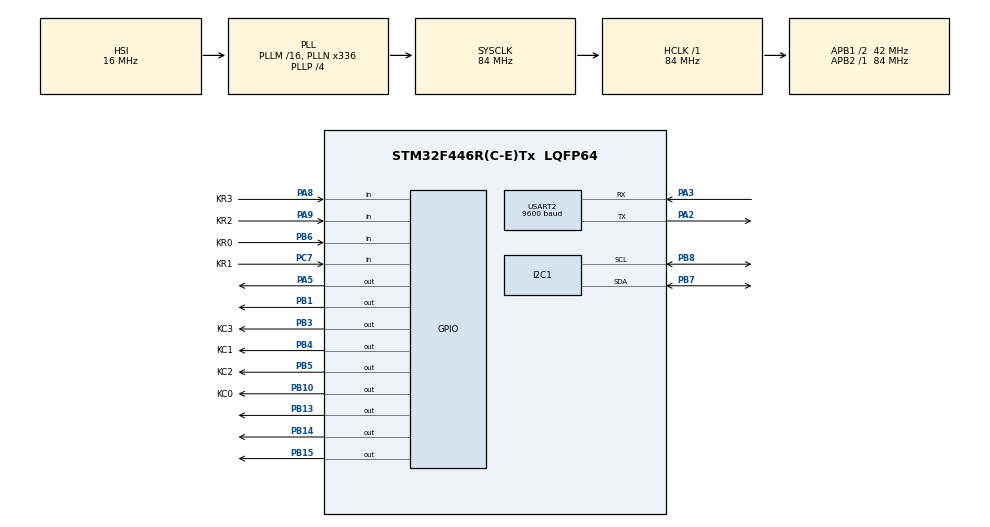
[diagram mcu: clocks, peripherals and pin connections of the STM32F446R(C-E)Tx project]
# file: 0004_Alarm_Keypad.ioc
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FREERTOS.Tasks01=defaultTask,0,128,StartDefaultTask,Default,NULL,Dynamic,NULL,NULL;NumberpadTask,0,128,Numberpad,Default,NULL,Dynamic,NULL,NULL;LCDTask,0,128,LCDDisplay,Default,NULL,Dynamic,NULL,NULL;LEDTask,0,128,RedGreenLED,Default,NULL,Dynamic,NULL,NULL;Buzzer,0,128,StartBuzzer,Default,NULL,Dynamic,NULL,NULL;MotionDetector,0,128,StartMotionDetector,Default,NULL,Dynamic,NULL,NULL
I2C1.I2C_Mode=I2C_Fast
Mcu.Family=STM32F4
Mcu.Name=STM32F446R(C-E)Tx
Mcu.Package=LQFP64
NVIC.PriorityGroup=NVIC_PRIORITYGROUP_4
NVIC.TIM6_DAC_IRQn=true\:0\:0\:false\:false\:true\:false\:false\:true\:true
NVIC.TimeBase=TIM6_DAC_IRQn
NVIC.TimeBaseIP=TIM6
PA13.Mode=Serial_Wire
PA13.Signal=SYS_JTMS-SWDIO
PA14.Mode=Serial_Wire
PA14.Signal=SYS_JTCK-SWCLK
PA2.Mode=Asynchronous
PA2.Signal=USART2_TX
PA3.Mode=Asynchronous
PA3.Signal=USART2_RX
PA5.Signal=GPIO_Output
PA8.GPIO_Label=KR3
PA8.GPIO_PuPd=GPIO_PULLDOWN
PA8.Signal=GPIO_Input
PA9.GPIO_Label=KR2
PA9.GPIO_PuPd=GPIO_PULLDOWN
PA9.Signal=GPIO_Input
PB1.Signal=GPIO_Output
PB10.GPIO_Label=KC0
PB10.Signal=GPIO_Output
PB13.Signal=GPIO_Output
PB14.Signal=GPIO_Output
PB15.Signal=GPIO_Output
PB3.GPIO_Label=KC3
PB3.Signal=GPIO_Output
PB4.GPIO_Label=KC1
PB4.Signal=GPIO_Output
PB5.GPIO_Label=KC2
PB5.Signal=GPIO_Output
PB6.GPIO_Label=KR0
PB6.GPIO_PuPd=GPIO_PULLDOWN
PB6.Signal=GPIO_Input
PB7.Mode=I2C
PB7.Signal=I2C1_SDA
PB8.Mode=I2C
PB8.Signal=I2C1_SCL
PC14-OSC32_IN.Mode=LSE-External-Oscillator
PC14-OSC32_IN.Signal=RCC_OSC32_IN
PC15-OSC32_OUT.Mode=LSE-External-Oscillator
PC15-OSC32_OUT.Signal=RCC_OSC32_OUT
PC7.GPIO_Label=KR1
PC7.GPIO_PuPd=GPIO_PULLDOWN
PC7.Signal=GPIO_Input
PH0-OSC_IN.Mode=HSE-External-Oscillator
PH0-OSC_IN.Signal=RCC_OSC_IN
PH1-OSC_OUT.Mode=HSE-External-Oscillator
PH1-OSC_OUT.Signal=RCC_OSC_OUT
ProjectManager.HeapSize=0x200
ProjectManager.StackSize=0x400
ProjectManager.TargetToolchain=STM32CubeIDE
RCC.48MHZClocksFreq_Value=84000000
RCC.AHBFreq_Value=84000000
RCC.APB1CLKDivider=RCC_HCLK_DIV2
RCC.APB1Freq_Value=42000000
RCC.APB1TimFreq_Value=84000000
RCC.APB2Freq_Value=84000000
RCC.APB2TimFreq_Value=84000000
RCC.CortexFreq_Value=84000000
RCC.FLatency-AdvancedSettings=FLASH_LATENCY_2
RCC.HCLKFreq_Value=84000000
RCC.HSE_VALUE=8000000
RCC.HSI_VALUE=16000000
RCC.PLLN=336
RCC.PLLP=RCC_PLLP_DIV4
RCC.SYSCLKFreq_VALUE=84000000
RCC.SYSCLKSource=RCC_SYSCLKSOURCE_PLLCLK
RCC.USBFreq_Value=168000000
RCC.VCOOutputFreq_Value=336000000
USART2.BaudRate=9600
USART2.VirtualMode=VM_ASYNC
VP_FREERTOS_VS_CMSIS_V1.Mode=CMSIS_V1
VP_SYS_VS_tim6.Mode=TIM6
board=NUCLEO-F446RE

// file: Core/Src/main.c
/* USER CODE BEGIN Header */
/**
  ******************************************************************************
  * @file           : main.c
  * @brief          : Main program body
  ******************************************************************************
  * @attention
  *
  * Copyright (c) 2024 STMicroelectronics.
  * All rights reserved.
  *
  * This software is licensed under terms that can be found in the LICENSE file
  * in the root directory of this software component.
  * If no LICENSE file comes with this software, it is provided AS-IS.
  *
  ******************************************************************************
  */
/* USER CODE END Header */
#include "main.h"
#include "cmsis_os.h"

/* USER CODE BEGIN Includes */
#include "Keypad4X4.h"
#include <stdio.h>
#include <string.h>
#include <stdlib.h>
#include "fonts.h"
#include "ssd1306.h"

/* USER CODE END Includes */

I2C_HandleTypeDef hi2c1;

UART_HandleTypeDef huart2;

osThreadId defaultTaskHandle;
osThreadId NumberpadTaskHandle;
osThreadId LCDTaskHandle;
osThreadId LEDTaskHandle;
osThreadId BuzzerHandle;
osThreadId MotionDetectorHandle;
/* USER CODE BEGIN PV */
extern char key;
char hold[4];
char password[6];
char storedPassword[6];
bool isArmed = false;
int idx = 0;
char msg[12] = "1";
int counter = 0;
char space[] = " ";
bool stateDisplayed = false;
uint8_t pirState;
#define PIR_PORT GPIOA
/* USER CODE END PV */

void SystemClock_Config(void);
static void MX_GPIO_Init(void);
static void MX_USART2_UART_Init(void);
static void MX_I2C1_Init(void);
void StartDefaultTask(void const * argument);
void Numberpad(void const * argument);
void LCDDisplay(void const * argument);
void RedGreenLED(void const * argument);
void StartBuzzer(void const * argument);
void StartMotionDetector(void const * argument);

int main(void)
{

  /* MCU Configuration--------------------------------------------------------*/

  /* Reset of all peripherals, Initializes the Flash interface and the Systick. */
  HAL_Init();

  /* Configure the system clock */
  SystemClock_Config();

  /* Initialize all configured peripherals */
  MX_GPIO_Init();
  MX_USART2_UART_Init();
  MX_I2C1_Init();
  /* USER CODE BEGIN 2 */
  /* USER CODE BEGIN 2 */
    SSD1306_Init();
    SSD1306_GotoXY (0,0);
    //SSD1306_Puts ("Voltage:", &Font_11x18, 1);
    SSD1306_Puts ("NOT ARMED", &Font_11x18, 1);
    SSD1306_UpdateScreen();
    HAL_Delay (5000);
    SSD1306_Fill(SSD1306_COLOR_BLACK);
    SSD1306_GotoXY (0,0);
    SSD1306_Puts ("Enter Code:", &Font_11x18, 1);
    SSD1306_GotoXY (0, 30);
    SSD1306_UpdateScreen();
    SSD1306_UpdateScreen();
    HAL_Delay (500);

  /* USER CODE END 2 */

  /* Create the thread(s) */
  /* definition and creation of defaultTask */
  osThreadDef(defaultTask, StartDefaultTask, osPriorityNormal, 0, 128);
  defaultTaskHandle = osThreadCreate(osThread(defaultTask), NULL);

  /* definition and creation of NumberpadTask */
  osThreadDef(NumberpadTask, Numberpad, osPriorityNormal, 0, 128);
  NumberpadTaskHandle = osThreadCreate(osThread(NumberpadTask), NULL);

  /* definition and creation of LCDTask */
  osThreadDef(LCDTask, LCDDisplay, osPriorityNormal, 0, 128);
  LCDTaskHandle = osThreadCreate(osThread(LCDTask), NULL);

  /* definition and creation of LEDTask */
  osThreadDef(LEDTask, RedGreenLED, osPriorityNormal, 0, 128);
  LEDTaskHandle = osThreadCreate(osThread(LEDTask), NULL);

  /* definition and creation of Buzzer */
  osThreadDef(Buzzer, StartBuzzer, osPriorityNormal, 0, 128);
  BuzzerHandle = osThreadCreate(osThread(Buzzer), NULL);

  /* definition and creation of MotionDetector */
  osThreadDef(MotionDetector, StartMotionDetector, osPriorityNormal, 0, 128);
  MotionDetectorHandle = osThreadCreate(osThread(MotionDetector), NULL);

  /* Start scheduler */
  osKernelStart();

  /* We should never get here as control is now taken by the scheduler */
  /* Infinite loop */
  while (1)
  {

    /* USER CODE BEGIN 3 */
	/* D10 to D7 as input pins for row 0 to row 3. D6 to D3 as output for column pins C1 to C3*/

  }
  /* USER CODE END 3 */
}

void SystemClock_Config(void)
{
  RCC_OscInitTypeDef RCC_OscInitStruct = {0};
  RCC_ClkInitTypeDef RCC_ClkInitStruct = {0};

  /** Configure the main internal regulator output voltage
  */
  __HAL_RCC_PWR_CLK_ENABLE();
  __HAL_PWR_VOLTAGESCALING_CONFIG(PWR_REGULATOR_VOLTAGE_SCALE3);

  /** Initializes the RCC Oscillators according to the specified parameters
  * in the RCC_OscInitTypeDef structure.
  */
  RCC_OscInitStruct.OscillatorType = RCC_OSCILLATORTYPE_HSI;
  RCC_OscInitStruct.HSIState = RCC_HSI_ON;
  RCC_OscInitStruct.HSICalibrationValue = RCC_HSICALIBRATION_DEFAULT;
  RCC_OscInitStruct.PLL.PLLState = RCC_PLL_ON;
  RCC_OscInitStruct.PLL.PLLSource = RCC_PLLSOURCE_HSI;
  RCC_OscInitStruct.PLL.PLLM = 16;
  RCC_OscInitStruct.PLL.PLLN = 336;
  RCC_OscInitStruct.PLL.PLLP = RCC_PLLP_DIV4;
  RCC_OscInitStruct.PLL.PLLQ = 2;
  RCC_OscInitStruct.PLL.PLLR = 2;
  if (HAL_RCC_OscConfig(&RCC_OscInitStruct) != HAL_OK)
  {
    Error_Handler();
  }

  /** Initializes the CPU, AHB and APB buses clocks
  */
  RCC_ClkInitStruct.ClockType = RCC_CLOCKTYPE_HCLK|RCC_CLOCKTYPE_SYSCLK
                              |RCC_CLOCKTYPE_PCLK1|RCC_CLOCKTYPE_PCLK2;
  RCC_ClkInitStruct.SYSCLKSource = RCC_SYSCLKSOURCE_PLLCLK;
  RCC_ClkInitStruct.AHBCLKDivider = RCC_SYSCLK_DIV1;
  RCC_ClkInitStruct.APB1CLKDivider = RCC_HCLK_DIV2;
  RCC_ClkInitStruct.APB2CLKDivider = RCC_HCLK_DIV1;

  if (HAL_RCC_ClockConfig(&RCC_ClkInitStruct, FLASH_LATENCY_2) != HAL_OK)
  {
    Error_Handler();
  }
}

static void MX_I2C1_Init(void)
{

  hi2c1.Instance = I2C1;
  hi2c1.Init.ClockSpeed = 400000;
  hi2c1.Init.DutyCycle = I2C_DUTYCYCLE_2;
  hi2c1.Init.OwnAddress1 = 0;
  hi2c1.Init.AddressingMode = I2C_ADDRESSINGMODE_7BIT;
  hi2c1.Init.DualAddressMode = I2C_DUALADDRESS_DISABLE;
  hi2c1.Init.OwnAddress2 = 0;
  hi2c1.Init.GeneralCallMode = I2C_GENERALCALL_DISABLE;
  hi2c1.Init.NoStretchMode = I2C_NOSTRETCH_DISABLE;
  if (HAL_I2C_Init(&hi2c1) != HAL_OK)
  {
    Error_Handler();
  }

}

static void MX_USART2_UART_Init(void)
{

  huart2.Instance = USART2;
  huart2.Init.BaudRate = 9600;
  huart2.Init.WordLength = UART_WORDLENGTH_8B;
  huart2.Init.StopBits = UART_STOPBITS_1;
  huart2.Init.Parity = UART_PARITY_NONE;
  huart2.Init.Mode = UART_MODE_TX_RX;
  huart2.Init.HwFlowCtl = UART_HWCONTROL_NONE;
  huart2.Init.OverSampling = UART_OVERSAMPLING_16;
  if (HAL_UART_Init(&huart2) != HAL_OK)
  {
    Error_Handler();
  }

}

static void MX_GPIO_Init(void)
{
  GPIO_InitTypeDef GPIO_InitStruct = {0};

  /* GPIO Ports Clock Enable */
  __HAL_RCC_GPIOC_CLK_ENABLE();
  __HAL_RCC_GPIOH_CLK_ENABLE();
  __HAL_RCC_GPIOA_CLK_ENABLE();
  __HAL_RCC_GPIOB_CLK_ENABLE();

  /*Configure GPIO pin Output Level */
  HAL_GPIO_WritePin(GPIOA, GPIO_PIN_5, GPIO_PIN_RESET);

  /*Configure GPIO pin Output Level */
  HAL_GPIO_WritePin(GPIOB, GPIO_PIN_1|KC0_Pin|GPIO_PIN_13|GPIO_PIN_14
                          |GPIO_PIN_15|KC3_Pin|KC1_Pin|KC2_Pin, GPIO_PIN_RESET);

  /*Configure GPIO pin : PA5 */
  GPIO_InitStruct.Pin = GPIO_PIN_5;
  GPIO_InitStruct.Mode = GPIO_MODE_OUTPUT_PP;
  GPIO_InitStruct.Pull = GPIO_NOPULL;
  GPIO_InitStruct.Speed = GPIO_SPEED_FREQ_LOW;
  HAL_GPIO_Init(GPIOA, &GPIO_InitStruct);

  /*Configure GPIO pins : PB1 KC0_Pin PB13 PB14
                           PB15 KC3_Pin KC1_Pin KC2_Pin */
  GPIO_InitStruct.Pin = GPIO_PIN_1|KC0_Pin|GPIO_PIN_13|GPIO_PIN_14
                          |GPIO_PIN_15|KC3_Pin|KC1_Pin|KC2_Pin;
  GPIO_InitStruct.Mode = GPIO_MODE_OUTPUT_PP;
  GPIO_InitStruct.Pull = GPIO_NOPULL;
  GPIO_InitStruct.Speed = GPIO_SPEED_FREQ_LOW;
  HAL_GPIO_Init(GPIOB, &GPIO_InitStruct);

  /*Configure GPIO pin : KR1_Pin */
  GPIO_InitStruct.Pin = KR1_Pin;
  GPIO_InitStruct.Mode = GPIO_MODE_INPUT;
  GPIO_InitStruct.Pull = GPIO_PULLDOWN;
  HAL_GPIO_Init(KR1_GPIO_Port, &GPIO_InitStruct);

  /*Configure GPIO pins : KR3_Pin KR2_Pin */
  GPIO_InitStruct.Pin = KR3_Pin|KR2_Pin;
  GPIO_InitStruct.Mode = GPIO_MODE_INPUT;
  GPIO_InitStruct.Pull = GPIO_PULLDOWN;
  HAL_GPIO_Init(GPIOA, &GPIO_InitStruct);

  /*Configure GPIO pin : KR0_Pin */
  GPIO_InitStruct.Pin = KR0_Pin;
  GPIO_InitStruct.Mode = GPIO_MODE_INPUT;
  GPIO_InitStruct.Pull = GPIO_PULLDOWN;
  HAL_GPIO_Init(KR0_GPIO_Port, &GPIO_InitStruct);

}

void StartDefaultTask(void const * argument)
{
  for(;;)
  {
    osDelay(1);
  }
}

void Numberpad(void const * argument)
{
  /* USER CODE BEGIN Numberpad */
  /* Infinite loop */
  for(;;)
  {
	  key = Get_Key();
	  sprintf(hold, "%c", key);
	  //HAL_UART_Transmit(&huart2, (uint8_t *)hold, strlen(hold), 100);

	  password[idx] = key;
	  idx++;
	  HAL_UART_Transmit(&huart2, (uint8_t *)idx, idx, 100);
	  HAL_UART_Transmit(&huart2, (uint8_t *)password, strlen(password), 100);
	  HAL_UART_Transmit(&huart2, (uint8_t *)space, strlen(space), 100);

	  if (!isArmed) {
		  if (idx == 6) {
			  char out[] = "success";
			  HAL_UART_Transmit(&huart2, (uint8_t *)out, strlen(out), 100);
			  strcpy(storedPassword, password);
			  memset(password, 0, sizeof(password));
			  stateDisplayed = false;
			  isArmed = true;
			  HAL_Delay (500);
			  idx = 0;
		  }
	  } else {
		  isArmed = true;
		  if (idx == 6) {
			  HAL_UART_Transmit(&huart2, (uint8_t *)storedPassword, strlen(storedPassword), 100);
			  HAL_UART_Transmit(&huart2, (uint8_t *)space, strlen(space), 100);
			  HAL_UART_Transmit(&huart2, (uint8_t *)password, strlen(password), 100);

			  bool same = true;
			  for (int i = 0; i < 6; i++) {
				  if (password[i] != storedPassword[i]) {
					  same = false;
					  break;
				  }
			  }

			  if (same) {
				  char out[] = "success";
				  HAL_UART_Transmit(&huart2, (uint8_t *)out, strlen(out), 100);
				  memset(password, 0, sizeof(password));
				  memset(storedPassword, 0, sizeof(storedPassword));
				  stateDisplayed = false;
				  isArmed = false;
				  HAL_Delay (500);
				  idx = 0;

			  } else {
				  idx = 0;
				  memset(password, 0, sizeof(password));
			  }
		  } else if (idx > 6){
			  isArmed = true;
			  idx = 0;
		  }
	  }
  }
  /* USER CODE END Numberpad */
}

void LCDDisplay(void const * argument)
{
  /* USER CODE BEGIN LCDDisplay */
  /* Infinite loop */
  for(;;)
  {
//	  SSD1306_GotoXY (0, 30);
//	  SSD1306_UpdateScreen();
//	  for (int i = 0; i < idx; i++) {
//		  if ((idx != 0) && (!isArmed)) {
//			  SSD1306_Puts ("*", &Font_11x18, 1);
//		  }
//	  }

//	  SSD1306_Puts (hold, &Font_11x18, 1);
	  SSD1306_UpdateScreen();
	  HAL_Delay (500);

	  if (!stateDisplayed) {
		  if (isArmed) {
			  SSD1306_GotoXY (0, 0);
			  SSD1306_Fill(SSD1306_COLOR_BLACK);
			  SSD1306_Puts ("ARMED", &Font_11x18, 1);
//		  		stateDisplayed = true;
		  } else {
			  SSD1306_GotoXY (0, 0);
			  SSD1306_Fill(SSD1306_COLOR_BLACK);
			  SSD1306_Puts ("DISARMED", &Font_11x18, 1);
		  }
		  stateDisplayed = true;
	  } else {
		  SSD1306_GotoXY (0,0);
		  SSD1306_Puts ("Enter Code:", &Font_11x18, 1);
		  SSD1306_GotoXY (0, 30);
		  SSD1306_UpdateScreen();
		  for (int i = 0; i < idx; i++) {
			  if ((idx != 0) && (!isArmed)) {
				  SSD1306_Puts ("*", &Font_11x18, 1);
			  }
		  }
	  }

  }
  /* USER CODE END LCDDisplay */
}

void RedGreenLED(void const * argument)
{
  /* USER CODE BEGIN RedGreenLED */
  /* Infinite loop */
  for(;;)
  {
	  if(!isArmed) {
		  HAL_GPIO_WritePin(GPIOB, GPIO_PIN_13, GPIO_PIN_RESET);
		  HAL_GPIO_WritePin(GPIOB, GPIO_PIN_14, GPIO_PIN_SET);
	  } else {
		  HAL_GPIO_WritePin(GPIOB, GPIO_PIN_13, GPIO_PIN_SET);
		  HAL_GPIO_WritePin(GPIOB, GPIO_PIN_14, GPIO_PIN_RESET);
	  }
  }
  /* USER CODE END RedGreenLED */
}

void StartBuzzer(void const * argument)
{
  /* USER CODE BEGIN StartBuzzer */
  /* Infinite loop */
  for(;;)
  {
	  HAL_GPIO_WritePin(GPIOB, GPIO_PIN_1, GPIO_PIN_SET);
  }
  /* USER CODE END StartBuzzer */
}

void StartMotionDetector(void const * argument)
{
  /* USER CODE BEGIN StartMotionDetector */
  /* Infinite loop */
  for(;;)
  {
//	  pirState = HAL_GPIO_ReadPin(PIR_PORT,GPIO_PIN_15);
//	  if (pirState > 0){
//		  HAL_GPIO_WritePin(GPIOB, GPIO_PIN_15, GPIO_PIN_SET);
//		  if (pirState == 0){
//			  pirState = 1;
//		  }
//
//	  }
//	  HAL_GPIO_WritePin(GPIOB, GPIO_PIN_15, GPIO_PIN_RESET);
  }
  /* USER CODE END StartMotionDetector */
}

void HAL_TIM_PeriodElapsedCallback(TIM_HandleTypeDef *htim)
{
  if (htim->Instance == TIM6) {
    HAL_IncTick();
  }
}

void Error_Handler(void)
{
  __disable_irq();
  while (1)
  {
  }
}
